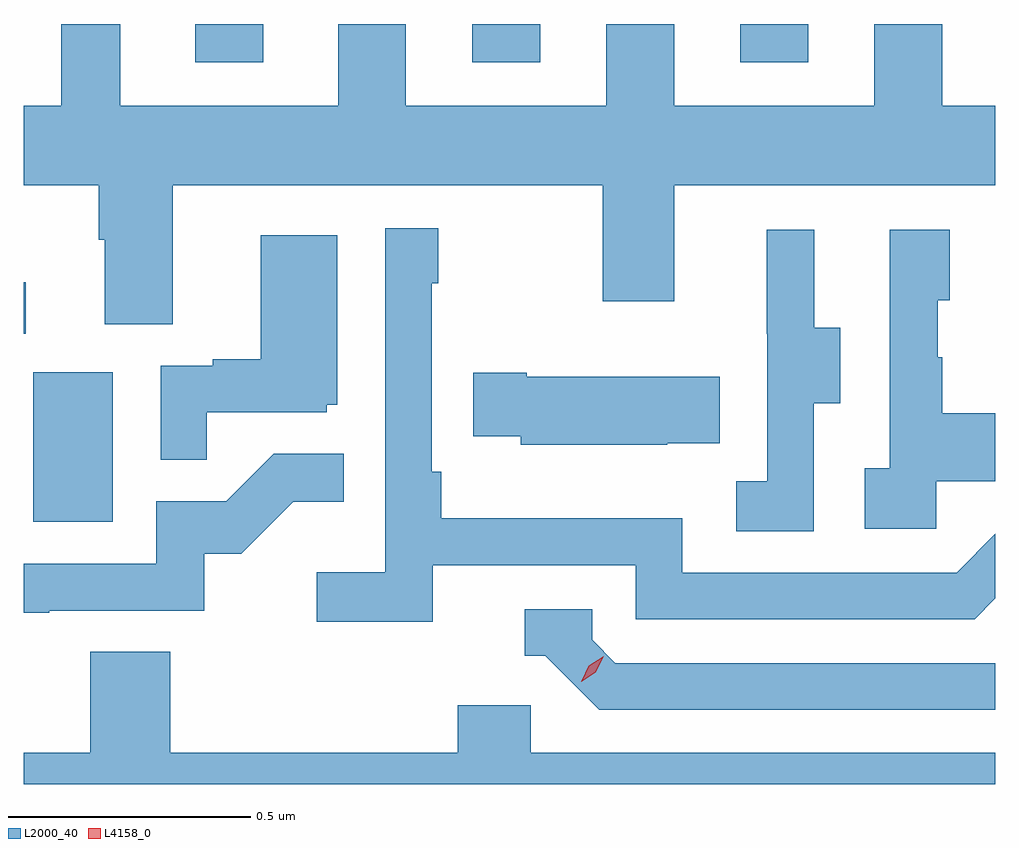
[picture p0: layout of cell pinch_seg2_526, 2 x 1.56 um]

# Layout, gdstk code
import gdstk
lib = gdstk.Library(unit=1e-6, precision=1e-09)
def R(c, l, rs):  # rectangles x0, y0, x1, y1
    for r in rs: c.add(gdstk.rectangle(r[:2], r[2:], *l))
def P(c, l, *ps):  # polygons
    for p in ps: c.add(gdstk.Polygon(p, *l))
L2000_40 = (2000, 40)
L4158_0 = (4158, 0)

pinch_seg2_526 = lib.new_cell('pinch_seg2_526')
R(pinch_seg2_526, L2000_40, [(998.264,584.34,998.428,584.647), (998.244,584.727,998.248,584.833), (998.597,585.285,998.737,585.364), (999.167,585.285,999.307,585.364), (999.719,585.285,999.859,585.364)])
P(pinch_seg2_526, L2000_40, [(998.551,585.032),(999.436,585.032),(999.436,584.793),(999.583,584.793),(999.583,585.032),(1000.244,585.032),(1000.244,585.196),(1000.135,585.196),(1000.135,585.364),(999.995,585.364),(999.995,585.196),(999.583,585.196),(999.583,585.364),(999.443,585.364),(999.443,585.196),(999.031,585.196),(999.031,585.364),(998.892,585.364),(998.892,585.196),(998.443,585.196),(998.443,585.364),(998.322,585.364),(998.322,585.196),(998.244,585.196),(998.244,585.032),(998.399,585.032),(998.399,584.92),(998.411,584.92),(998.411,584.746),(998.551,584.746)],
  [(999.086,584.25),(999.504,584.25),(999.504,584.139),(1000.201,584.139),(1000.244,584.182),(1000.244,584.315),(1000.164,584.235),(999.6,584.235),(999.6,584.347),(999.104,584.347),(999.104,584.443),(999.084,584.443),(999.084,584.831),(999.097,584.831),(999.097,584.944),(998.988,584.944),(998.988,584.236),(998.847,584.236),(998.847,584.134),(999.086,584.134)],
  [(1000.122,584.423),(1000.244,584.423),(1000.244,584.563),(1000.135,584.563),(1000.135,584.678),(1000.125,584.678),(1000.125,584.796),(1000.15,584.796),(1000.15,584.941),(1000.026,584.941),(1000.026,584.45),(999.975,584.45),(999.975,584.325),(1000.122,584.325)],
  [(999.87,584.584),(999.925,584.584),(999.925,584.739),(999.871,584.739),(999.871,584.941),(999.773,584.941),(999.773,584.727),(999.774,584.727),(999.774,584.423),(999.711,584.423),(999.711,584.32),(999.87,584.32)],
  [(998.621,584.565),(998.868,584.565),(998.868,584.58),(998.89,584.58),(998.89,584.929),(998.732,584.929),(998.732,584.674),(998.633,584.674),(998.633,584.661),(998.526,584.661),(998.526,584.467),(998.621,584.467)],
  [(999.569,584.501),(999.677,584.501),(999.677,584.638),(999.28,584.638),(999.28,584.646),(999.169,584.646),(999.169,584.516),(999.267,584.516),(999.267,584.498),(999.569,584.498)],
  [(998.297,584.157),(998.616,584.157),(998.616,584.274),(998.692,584.274),(998.799,584.381),(998.903,584.381),(998.903,584.48),(998.759,584.48),(998.661,584.382),(998.517,584.382),(998.517,584.253),(998.244,584.253),(998.244,584.152),(998.297,584.152)],
  [(1000.244,584.049),(999.462,584.049),(999.414,584.097),(999.414,584.16),(999.275,584.16),(999.275,584.064),(999.318,584.064),(999.429,583.953),(1000.244,583.953)],
  [(1000.244,583.864),(999.288,583.864),(999.288,583.962),(999.137,583.962),(999.137,583.864),(998.546,583.864),(998.546,584.072),(998.381,584.072),(998.381,583.864),(998.244,583.864),(998.244,583.8),(1000.244,583.8)])
P(pinch_seg2_526, L4158_0, [(999.392,584.01),(999.392,584.01),(999.407,584.043),(999.438,584.063),(999.438,584.063),(999.438,584.063),(999.422,584.03),(999.392,584.01)])

lib.write_gds('pinch_seg2_526.gds')
